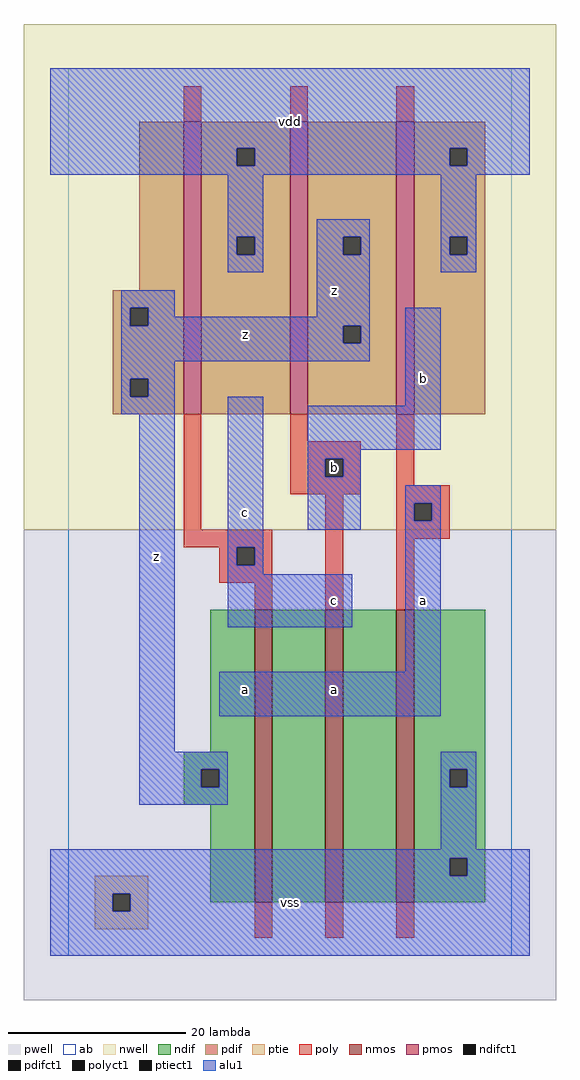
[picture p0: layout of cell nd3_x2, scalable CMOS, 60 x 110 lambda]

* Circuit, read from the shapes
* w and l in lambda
.subckt nd3_x2 a b c vdd vss z
M1 n1 c z vss nfet w=33 l=2
M2 n2 b n1 vss nfet w=33 l=2
M3 vss a n2 vss nfet w=33 l=2
M4 vdd c z n3 pfet w=33 l=2
M5 z b vdd n3 pfet w=33 l=2
M6 vdd a z n3 pfet w=33 l=2
.ends

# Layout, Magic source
magic
tech scmos
<< ab >>
rect 0 0 50 100
<< nwell >>
rect -5 48 55 105
<< pwell >>
rect -5 -5 55 48
<< poly >>
rect 13 94 15 98
rect 25 94 27 98
rect 37 94 39 98
rect 13 48 15 61
rect 25 58 27 61
rect 25 56 33 58
rect 25 54 29 56
rect 31 54 33 56
rect 25 52 33 54
rect 37 53 39 61
rect 13 46 23 48
rect 17 44 19 46
rect 21 44 23 46
rect 17 42 23 44
rect 21 39 23 42
rect 29 39 31 52
rect 37 51 43 53
rect 37 49 39 51
rect 41 49 43 51
rect 37 47 43 49
rect 37 39 39 47
rect 21 2 23 6
rect 29 2 31 6
rect 37 2 39 6
<< ndif >>
rect 16 23 21 39
rect 13 21 21 23
rect 13 19 15 21
rect 17 19 21 21
rect 13 17 21 19
rect 16 6 21 17
rect 23 6 29 39
rect 31 6 37 39
rect 39 21 47 39
rect 39 19 43 21
rect 45 19 47 21
rect 39 11 47 19
rect 39 9 43 11
rect 45 9 47 11
rect 39 6 47 9
<< pdif >>
rect 8 75 13 94
rect 5 73 13 75
rect 5 71 7 73
rect 9 71 13 73
rect 5 65 13 71
rect 5 63 7 65
rect 9 63 13 65
rect 5 61 13 63
rect 15 91 25 94
rect 15 89 19 91
rect 21 89 25 91
rect 15 81 25 89
rect 15 79 19 81
rect 21 79 25 81
rect 15 61 25 79
rect 27 81 37 94
rect 27 79 31 81
rect 33 79 37 81
rect 27 71 37 79
rect 27 69 31 71
rect 33 69 37 71
rect 27 61 37 69
rect 39 91 47 94
rect 39 89 43 91
rect 45 89 47 91
rect 39 81 47 89
rect 39 79 43 81
rect 45 79 47 81
rect 39 61 47 79
<< alu1 >>
rect -2 91 52 100
rect -2 89 19 91
rect 21 89 43 91
rect 45 89 52 91
rect -2 88 52 89
rect 18 81 22 88
rect 18 79 19 81
rect 21 79 22 81
rect 18 77 22 79
rect 28 81 34 83
rect 28 79 31 81
rect 33 79 34 81
rect 6 73 12 75
rect 6 71 7 73
rect 9 72 12 73
rect 28 72 34 79
rect 42 81 46 88
rect 42 79 43 81
rect 45 79 46 81
rect 42 77 46 79
rect 9 71 34 72
rect 6 69 31 71
rect 33 69 34 71
rect 6 67 34 69
rect 6 65 12 67
rect 6 63 7 65
rect 9 63 12 65
rect 6 61 12 63
rect 8 23 12 61
rect 18 46 22 63
rect 38 62 42 73
rect 27 57 42 62
rect 27 56 33 57
rect 27 54 29 56
rect 31 54 33 56
rect 27 48 33 54
rect 38 51 42 53
rect 38 49 39 51
rect 41 49 42 51
rect 18 44 19 46
rect 21 44 22 46
rect 18 43 22 44
rect 18 37 32 43
rect 38 32 42 49
rect 17 27 42 32
rect 8 21 18 23
rect 8 19 15 21
rect 17 19 18 21
rect 8 17 18 19
rect 42 21 46 23
rect 42 19 43 21
rect 45 19 46 21
rect 42 12 46 19
rect -2 11 52 12
rect -2 9 43 11
rect 45 9 52 11
rect -2 7 52 9
rect -2 5 5 7
rect 7 5 52 7
rect -2 0 52 5
<< ptie >>
rect 3 7 9 9
rect 3 5 5 7
rect 7 5 9 7
rect 3 3 9 5
<< nmos >>
rect 21 6 23 39
rect 29 6 31 39
rect 37 6 39 39
<< pmos >>
rect 13 61 15 94
rect 25 61 27 94
rect 37 61 39 94
<< polyct1 >>
rect 29 54 31 56
rect 19 44 21 46
rect 39 49 41 51
<< ndifct1 >>
rect 15 19 17 21
rect 43 19 45 21
rect 43 9 45 11
<< ptiect1 >>
rect 5 5 7 7
<< pdifct1 >>
rect 7 71 9 73
rect 7 63 9 65
rect 19 89 21 91
rect 19 79 21 81
rect 31 79 33 81
rect 31 69 33 71
rect 43 89 45 91
rect 43 79 45 81
<< labels >>
rlabel alu1 10 45 10 45 6 z
rlabel alu1 20 30 20 30 6 a
rlabel alu1 20 50 20 50 6 c
rlabel alu1 20 70 20 70 6 z
rlabel alu1 25 6 25 6 6 vss
rlabel alu1 30 40 30 40 6 c
rlabel alu1 30 30 30 30 6 a
rlabel polyct1 30 55 30 55 6 b
rlabel alu1 30 75 30 75 6 z
rlabel alu1 25 94 25 94 6 vdd
rlabel alu1 40 40 40 40 6 a
rlabel alu1 40 65 40 65 6 b
<< end >>
